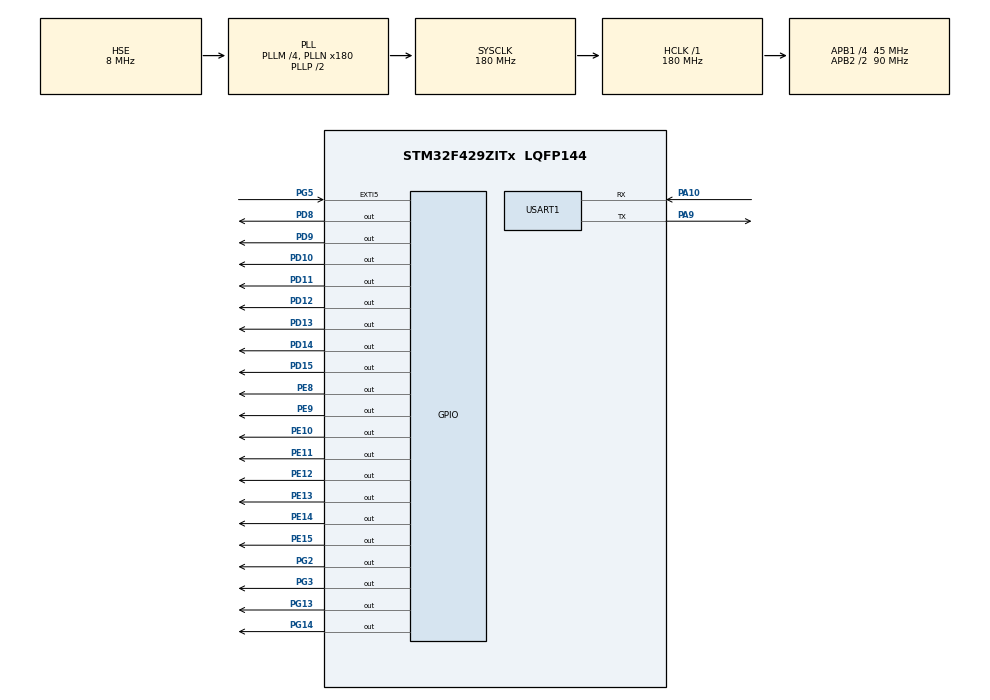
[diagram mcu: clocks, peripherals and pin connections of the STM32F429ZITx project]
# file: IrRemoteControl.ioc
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Mcu.Family=STM32F4
Mcu.Name=STM32F429ZITx
Mcu.Package=LQFP144
NVIC.EXTI9_5_IRQn=true\:0\:0\:false\:false\:true\:true\:true\:true
NVIC.PriorityGroup=NVIC_PRIORITYGROUP_4
NVIC.TIM6_DAC_IRQn=true\:0\:0\:false\:false\:true\:true\:true\:true
PA10.Mode=Asynchronous
PA10.Signal=USART1_RX
PA9.Mode=Asynchronous
PA9.Signal=USART1_TX
PD10.Signal=GPIO_Output
PD11.Signal=GPIO_Output
PD12.Signal=GPIO_Output
PD13.Signal=GPIO_Output
PD14.Signal=GPIO_Output
PD15.Signal=GPIO_Output
PD8.Signal=GPIO_Output
PD9.Signal=GPIO_Output
PE10.Signal=GPIO_Output
PE11.Signal=GPIO_Output
PE12.Signal=GPIO_Output
PE13.Signal=GPIO_Output
PE14.Signal=GPIO_Output
PE15.Signal=GPIO_Output
PE8.Signal=GPIO_Output
PE9.Signal=GPIO_Output
PG13.Signal=GPIO_Output
PG14.Signal=GPIO_Output
PG2.Signal=GPIO_Output
PG3.Signal=GPIO_Output
PG5.GPIO_ModeDefaultEXTI=GPIO_MODE_IT_FALLING
PG5.GPIO_PuPd=GPIO_PULLUP
PG5.Signal=GPXTI5
PH0/OSC_IN.Mode=HSE-External-Oscillator
PH0/OSC_IN.Signal=RCC_OSC_IN
PH1/OSC_OUT.Mode=HSE-External-Oscillator
PH1/OSC_OUT.Signal=RCC_OSC_OUT
ProjectManager.HeapSize=0x200
ProjectManager.StackSize=0x400
ProjectManager.TargetToolchain=STM32CubeIDE
RCC.48MHZClocksFreq_Value=90000000
RCC.AHBFreq_Value=180000000
RCC.APB1CLKDivider=RCC_HCLK_DIV4
RCC.APB1Freq_Value=45000000
RCC.APB1TimFreq_Value=90000000
RCC.APB2CLKDivider=RCC_HCLK_DIV2
RCC.APB2Freq_Value=90000000
RCC.APB2TimFreq_Value=180000000
RCC.CortexFreq_Value=180000000
RCC.HCLKFreq_Value=180000000
RCC.HSE_VALUE=8000000
RCC.HSI_VALUE=16000000
RCC.LSE_VALUE=32768
RCC.PLLM=4
RCC.PLLN=180
RCC.PLLSourceVirtual=RCC_PLLSOURCE_HSE
RCC.SYSCLKFreq_VALUE=180000000
RCC.SYSCLKSource=RCC_SYSCLKSOURCE_PLLCLK
RCC.VCOOutputFreq_Value=360000000
TIM6.Period=99
TIM6.Prescaler=89
USART1.VirtualMode=VM_ASYNC
VP_TIM6_VS_ClockSourceINT.Mode=Enable_Timer
board=custom

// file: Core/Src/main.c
/* USER CODE BEGIN Header */
/**
  ******************************************************************************
  * @file           : main.c
  * @brief          : Main program body
  ******************************************************************************
  * @attention
  *
  * Copyright (c) 2025 STMicroelectronics.
  * All rights reserved.
  *
  * This software is licensed under terms that can be found in the LICENSE file
  * in the root directory of this software component.
  * If no LICENSE file comes with this software, it is provided AS-IS.
  *
  ******************************************************************************
  */
/* USER CODE END Header */
#include "main.h"

/* USER CODE BEGIN Includes */
#include "irda.h"
#include "stdio.h"
#include "string.h"
#include "7seg.h"
/* USER CODE END Includes */

TIM_HandleTypeDef htim6;

UART_HandleTypeDef huart1;

/* USER CODE BEGIN PV */
int tim6_count;
unsigned char LED_Value = 1;
unsigned char left_LED = 0b10000000;
unsigned char right_LED = 0b00000001;
/* USER CODE END PV */

void SystemClock_Config(void);
static void MX_GPIO_Init(void);
static void MX_TIM6_Init(void);
static void MX_USART1_UART_Init(void);

/* USER CODE BEGIN 0 */
extern int command_ok;
extern unsigned char irda_cmd[4];
int dem =0;
void DisplayLEDs(int mode)
{
	if(dem > 50) dem =0;
	else dem++;
	if (mode == 4 )
	{
		if(LED_Value == 0b10000001  && left_LED == 0b00000001){
			LED_Value =0;
		}
		else{
			left_LED = (left_LED >> 1) | (left_LED << 7);
			right_LED = (right_LED << 1) | (right_LED >> 7);

			LED_Value = left_LED | right_LED;
		}

	}

	else if (mode == 2 )
	{
		LED_Value = LED_Value << 1 | LED_Value >> 7;

	}
	else if (mode == 1 )
		{
			LED_Value = LED_Value >> 1 | LED_Value << 7;

		}
	else if(mode == 3 ){
		LED_Value = LED_Value ^ 0b11111111;
	}

	if (LED_Value & 0x80)
		HAL_GPIO_WritePin(GPIOD, GPIO_PIN_15, GPIO_PIN_SET);
	else
		HAL_GPIO_WritePin(GPIOD, GPIO_PIN_15, GPIO_PIN_RESET);
	if (LED_Value & 0x40)
		HAL_GPIO_WritePin(GPIOD, GPIO_PIN_14, GPIO_PIN_SET);
	else
		HAL_GPIO_WritePin(GPIOD, GPIO_PIN_14, GPIO_PIN_RESET);
	if (LED_Value & 0x20)
		HAL_GPIO_WritePin(GPIOD, GPIO_PIN_13, GPIO_PIN_SET);
	else
		HAL_GPIO_WritePin(GPIOD, GPIO_PIN_13, GPIO_PIN_RESET);
	if (LED_Value & 0x10)
		HAL_GPIO_WritePin(GPIOD, GPIO_PIN_12, GPIO_PIN_SET);
	else
		HAL_GPIO_WritePin(GPIOD, GPIO_PIN_12, GPIO_PIN_RESET);
	if (LED_Value & 0x8)
		HAL_GPIO_WritePin(GPIOD, GPIO_PIN_11, GPIO_PIN_SET);
	else
		HAL_GPIO_WritePin(GPIOD, GPIO_PIN_11, GPIO_PIN_RESET);
	if (LED_Value & 0x4)
		HAL_GPIO_WritePin(GPIOD, GPIO_PIN_10, GPIO_PIN_SET);
	else
		HAL_GPIO_WritePin(GPIOD, GPIO_PIN_10, GPIO_PIN_RESET);
	if (LED_Value & 0x2)
		HAL_GPIO_WritePin(GPIOD, GPIO_PIN_9, GPIO_PIN_SET);
	else
		HAL_GPIO_WritePin(GPIOD, GPIO_PIN_9, GPIO_PIN_RESET);
	if (LED_Value & 0x1)
		HAL_GPIO_WritePin(GPIOD, GPIO_PIN_8, GPIO_PIN_SET);
	else
		HAL_GPIO_WritePin(GPIOD, GPIO_PIN_8, GPIO_PIN_RESET);
}
/* USER CODE END 0 */

int main(void)
{

  /* MCU Configuration--------------------------------------------------------*/

  /* Reset of all peripherals, Initializes the Flash interface and the Systick. */
  HAL_Init();

  /* Configure the system clock */
  SystemClock_Config();

  /* Initialize all configured peripherals */
  MX_GPIO_Init();
  MX_TIM6_Init();
  MX_USART1_UART_Init();
  /* USER CODE BEGIN 2 */

  HAL_TIM_Base_Start_IT(&htim6);
  Set7SegDisplayValue(0);
  command_ok = 0;
  tim6_count = 0;
  /* USER CODE END 2 */

  /* Infinite loop */
  /* USER CODE BEGIN WHILE */

  int temp  = 0;
  while (1)
  {
	  //turn off 2 LEDs
	  HAL_GPIO_TogglePin(GPIOG, GPIO_PIN_13);
	  //delay
	  HAL_Delay(5);
	  if(temp == 3) LED_Value = 0;
	  else LED_Value = 1;
	  if(temp >=1 && temp <= 4) DisplayLEDs(temp);
	  if (command_ok)
	  {
		  char buf[256];
		  IrDecode();
		  sprintf(buf, "%02x%02x%02x%02x\n", irda_cmd[0], irda_cmd[1], irda_cmd[2], irda_cmd[3]);
		  Set7SegDisplayValue(irda_cmd[2]);
		  if(strcmp(buf, "00ff45ba\n")){
			  temp = 1;
		  }
		  else if(strcmp(buf, "00ff46b9\n")){
			  temp = 2;
		  }
		  else if(strcmp(buf, "00ff47b8\n")){
			  temp = 3;
		  		  }
		  else if(strcmp(buf, "00ff44bb\n")){
			  temp =  4;
		  		  }
		  HAL_UART_Transmit(&huart1, (const uint8_t *)buf, strlen(buf), 2);
		  command_ok = 0;
	  }

	  Run7SegDisplay();
    /* USER CODE END WHILE */

  }
}

void SystemClock_Config(void)
{
  RCC_OscInitTypeDef RCC_OscInitStruct = {0};
  RCC_ClkInitTypeDef RCC_ClkInitStruct = {0};

  /** Configure the main internal regulator output voltage
  */
  __HAL_RCC_PWR_CLK_ENABLE();
  __HAL_PWR_VOLTAGESCALING_CONFIG(PWR_REGULATOR_VOLTAGE_SCALE1);

  /** Initializes the RCC Oscillators according to the specified parameters
  * in the RCC_OscInitTypeDef structure.
  */
  RCC_OscInitStruct.OscillatorType = RCC_OSCILLATORTYPE_HSE;
  RCC_OscInitStruct.HSEState = RCC_HSE_ON;
  RCC_OscInitStruct.PLL.PLLState = RCC_PLL_ON;
  RCC_OscInitStruct.PLL.PLLSource = RCC_PLLSOURCE_HSE;
  RCC_OscInitStruct.PLL.PLLM = 4;
  RCC_OscInitStruct.PLL.PLLN = 180;
  RCC_OscInitStruct.PLL.PLLP = RCC_PLLP_DIV2;
  RCC_OscInitStruct.PLL.PLLQ = 4;
  if (HAL_RCC_OscConfig(&RCC_OscInitStruct) != HAL_OK)
  {
    Error_Handler();
  }

  /** Activate the Over-Drive mode
  */
  if (HAL_PWREx_EnableOverDrive() != HAL_OK)
  {
    Error_Handler();
  }

  /** Initializes the CPU, AHB and APB buses clocks
  */
  RCC_ClkInitStruct.ClockType = RCC_CLOCKTYPE_HCLK|RCC_CLOCKTYPE_SYSCLK
                              |RCC_CLOCKTYPE_PCLK1|RCC_CLOCKTYPE_PCLK2;
  RCC_ClkInitStruct.SYSCLKSource = RCC_SYSCLKSOURCE_PLLCLK;
  RCC_ClkInitStruct.AHBCLKDivider = RCC_SYSCLK_DIV1;
  RCC_ClkInitStruct.APB1CLKDivider = RCC_HCLK_DIV4;
  RCC_ClkInitStruct.APB2CLKDivider = RCC_HCLK_DIV2;

  if (HAL_RCC_ClockConfig(&RCC_ClkInitStruct, FLASH_LATENCY_5) != HAL_OK)
  {
    Error_Handler();
  }
}

static void MX_TIM6_Init(void)
{

  TIM_MasterConfigTypeDef sMasterConfig = {0};

  htim6.Instance = TIM6;
  htim6.Init.Prescaler = 89;
  htim6.Init.CounterMode = TIM_COUNTERMODE_UP;
  htim6.Init.Period = 99;
  htim6.Init.AutoReloadPreload = TIM_AUTORELOAD_PRELOAD_DISABLE;
  if (HAL_TIM_Base_Init(&htim6) != HAL_OK)
  {
    Error_Handler();
  }
  sMasterConfig.MasterOutputTrigger = TIM_TRGO_RESET;
  sMasterConfig.MasterSlaveMode = TIM_MASTERSLAVEMODE_DISABLE;
  if (HAL_TIMEx_MasterConfigSynchronization(&htim6, &sMasterConfig) != HAL_OK)
  {
    Error_Handler();
  }

}

static void MX_USART1_UART_Init(void)
{

  huart1.Instance = USART1;
  huart1.Init.BaudRate = 115200;
  huart1.Init.WordLength = UART_WORDLENGTH_8B;
  huart1.Init.StopBits = UART_STOPBITS_1;
  huart1.Init.Parity = UART_PARITY_NONE;
  huart1.Init.Mode = UART_MODE_TX_RX;
  huart1.Init.HwFlowCtl = UART_HWCONTROL_NONE;
  huart1.Init.OverSampling = UART_OVERSAMPLING_16;
  if (HAL_UART_Init(&huart1) != HAL_OK)
  {
    Error_Handler();
  }

}

static void MX_GPIO_Init(void)
{
  GPIO_InitTypeDef GPIO_InitStruct = {0};

  /* GPIO Ports Clock Enable */
  __HAL_RCC_GPIOH_CLK_ENABLE();
  __HAL_RCC_GPIOE_CLK_ENABLE();
  __HAL_RCC_GPIOD_CLK_ENABLE();
  __HAL_RCC_GPIOG_CLK_ENABLE();
  __HAL_RCC_GPIOA_CLK_ENABLE();

  /*Configure GPIO pin Output Level */
  HAL_GPIO_WritePin(GPIOE, GPIO_PIN_8|GPIO_PIN_9|GPIO_PIN_10|GPIO_PIN_11
                          |GPIO_PIN_12|GPIO_PIN_13|GPIO_PIN_14|GPIO_PIN_15, GPIO_PIN_RESET);

  /*Configure GPIO pin Output Level */
  HAL_GPIO_WritePin(GPIOD, GPIO_PIN_8|GPIO_PIN_9|GPIO_PIN_10|GPIO_PIN_11
                          |GPIO_PIN_12|GPIO_PIN_13|GPIO_PIN_14|GPIO_PIN_15, GPIO_PIN_RESET);

  /*Configure GPIO pin Output Level */
  HAL_GPIO_WritePin(GPIOG, GPIO_PIN_2|GPIO_PIN_3|GPIO_PIN_13|GPIO_PIN_14, GPIO_PIN_RESET);

  /*Configure GPIO pins : PE8 PE9 PE10 PE11
                           PE12 PE13 PE14 PE15 */
  GPIO_InitStruct.Pin = GPIO_PIN_8|GPIO_PIN_9|GPIO_PIN_10|GPIO_PIN_11
                          |GPIO_PIN_12|GPIO_PIN_13|GPIO_PIN_14|GPIO_PIN_15;
  GPIO_InitStruct.Mode = GPIO_MODE_OUTPUT_PP;
  GPIO_InitStruct.Pull = GPIO_NOPULL;
  GPIO_InitStruct.Speed = GPIO_SPEED_FREQ_LOW;
  HAL_GPIO_Init(GPIOE, &GPIO_InitStruct);

  /*Configure GPIO pins : PD8 PD9 PD10 PD11
                           PD12 PD13 PD14 PD15 */
  GPIO_InitStruct.Pin = GPIO_PIN_8|GPIO_PIN_9|GPIO_PIN_10|GPIO_PIN_11
                          |GPIO_PIN_12|GPIO_PIN_13|GPIO_PIN_14|GPIO_PIN_15;
  GPIO_InitStruct.Mode = GPIO_MODE_OUTPUT_PP;
  GPIO_InitStruct.Pull = GPIO_NOPULL;
  GPIO_InitStruct.Speed = GPIO_SPEED_FREQ_LOW;
  HAL_GPIO_Init(GPIOD, &GPIO_InitStruct);

  /*Configure GPIO pins : PG2 PG3 PG13 PG14 */
  GPIO_InitStruct.Pin = GPIO_PIN_2|GPIO_PIN_3|GPIO_PIN_13|GPIO_PIN_14;
  GPIO_InitStruct.Mode = GPIO_MODE_OUTPUT_PP;
  GPIO_InitStruct.Pull = GPIO_NOPULL;
  GPIO_InitStruct.Speed = GPIO_SPEED_FREQ_LOW;
  HAL_GPIO_Init(GPIOG, &GPIO_InitStruct);

  /*Configure GPIO pin : PG5 */
  GPIO_InitStruct.Pin = GPIO_PIN_5;
  GPIO_InitStruct.Mode = GPIO_MODE_IT_FALLING;
  GPIO_InitStruct.Pull = GPIO_PULLUP;
  HAL_GPIO_Init(GPIOG, &GPIO_InitStruct);

  /* EXTI interrupt init*/
  HAL_NVIC_SetPriority(EXTI9_5_IRQn, 0, 0);
  HAL_NVIC_EnableIRQ(EXTI9_5_IRQn);

}

void Error_Handler(void)
{
  __disable_irq();
  while (1)
  {
  }
}
